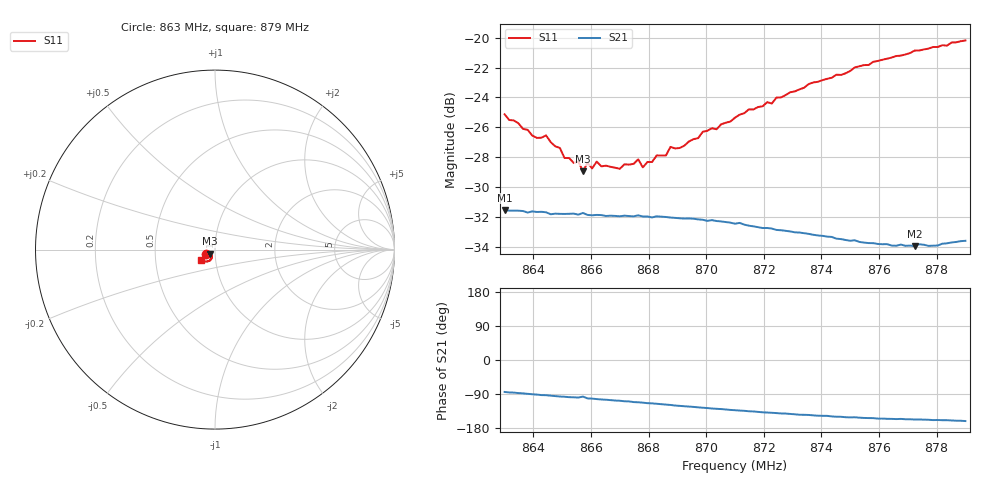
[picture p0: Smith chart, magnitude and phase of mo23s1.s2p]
# HZ S RI R 50
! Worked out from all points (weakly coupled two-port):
!   101 points, 863 MHz to 879 MHz, reference 50 ohm
!   highest |S21| = -31.53 dB at 863 MHz (marker M1); lowest = -33.9 dB at 877.24 MHz (marker M2)
!   lowest |S11| = -28.9 dB at 865.72 MHz (marker M3), VSWR 1.07, Z = 47.3 - j2.21 ohm
!   |S11| at or under -10 dB: start of sweep to end of sweep
!   S12 and S22 are empty: the file has one direction only
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8.63e8  -0.0502 -0.0234  0.00263 -0.0264  0 0  0 0
8.6412e8  -0.0403 -0.0226  -0.000595 -0.0261  0 0  0 0
8.6444e8  -0.0408 -0.0235  -0.0013 -0.026  0 0  0 0
8.6492e8  -0.0363 -0.0226  -0.00283 -0.0256  0 0  0 0
8.6508e8  -0.0322 -0.023  -0.00311 -0.0255  0 0  0 0
8.6556e8  -0.0305 -0.0235  -0.00409 -0.0253  0 0  0 0
8.6572e8  -0.0271 -0.0234  -0.00293 -0.0258  0 0  0 0
8.6588e8  -0.0297 -0.024  -0.00504 -0.025  0 0  0 0
8.6604e8  -0.0269 -0.0247  -0.00527 -0.0249  0 0  0 0
8.662e8  -0.0287 -0.0257  -0.00581 -0.0249  0 0  0 0
8.67e8  -0.0232 -0.0281  -0.0076 -0.0241  0 0  0 0
8.6764e8  -0.0223 -0.0322  -0.00936 -0.0237  0 0  0 0
8.678e8  -0.0202 -0.0308  -0.00967 -0.0233  0 0  0 0
8.6844e8  -0.0193 -0.0354  -0.0113 -0.0225  0 0  0 0
8.686e8  -0.0175 -0.0363  -0.0116 -0.0223  0 0  0 0
8.6876e8  -0.019 -0.0387  -0.012 -0.022  0 0  0 0
8.6908e8  -0.0193 -0.0381  -0.0128 -0.0213  0 0  0 0
8.71e8  -0.0202 -0.0501  -0.0161 -0.0176  0 0  0 0
8.7372e8  -0.0316 -0.0634  -0.0182 -0.0122  0 0  0 0
8.7644e8  -0.0546 -0.0661  -0.0183 -0.00839  0 0  0 0
8.7724e8  -0.0627 -0.0653  -0.0185 -0.00785  0 0  0 0
8.79e8  -0.0784 -0.0586  -0.0198 -0.00678  0 0  0 0
